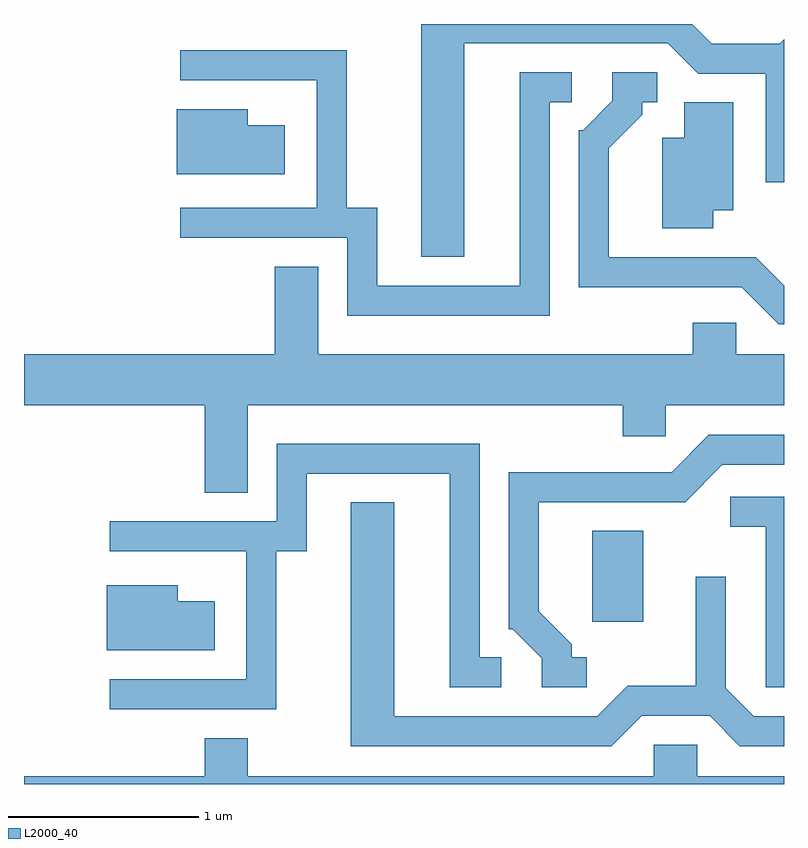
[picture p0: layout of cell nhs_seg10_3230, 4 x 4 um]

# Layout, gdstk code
import gdstk
lib = gdstk.Library(unit=1e-6, precision=1e-09)
def R(c, l, rs):  # rectangles x0, y0, x1, y1
    for r in rs: c.add(gdstk.rectangle(r[:2], r[2:], *l))
def P(c, l, *ps):  # polygons
    for p in ps: c.add(gdstk.Polygon(p, *l))
L2000_40 = (2000, 40)

nhs_seg10_3230 = lib.new_cell('nhs_seg10_3230')
R(nhs_seg10_3230, L2000_40, [(282.601,2179.376,282.869,2179.854)])
P(nhs_seg10_3230, L2000_40, [(281.929,2182.421),(282.999,2182.421),(283.159,2182.261),(283.516,2182.261),(283.516,2181.688),(283.611,2181.688),(283.611,2182.441),(283.589,2182.419),(283.232,2182.419),(283.129,2182.522),(281.701,2182.522),(281.701,2181.296),(281.929,2181.296)],
  [(282.379,2182.111),(282.493,2182.111),(282.493,2182.269),(282.221,2182.269),(282.221,2181.144),(281.469,2181.144),(281.469,2181.554),(281.309,2181.554),(281.309,2182.384),(280.433,2182.384),(280.433,2182.226),(281.151,2182.226),(281.151,2181.554),(280.433,2181.554),(280.433,2181.396),(281.311,2181.396),(281.311,2180.986),(282.379,2180.986)],
  [(283.611,2181.145),(283.462,2181.294),(282.689,2181.294),(282.689,2181.869),(282.864,2182.044),(282.864,2182.111),(282.943,2182.111),(282.943,2182.269),(282.706,2182.269),(282.706,2182.117),(282.554,2181.964),(282.531,2181.964),(282.531,2181.136),(283.389,2181.136),(283.584,2180.941),(283.611,2180.941)],
  [(283.239,2181.541),(283.344,2181.541),(283.344,2182.109),(283.086,2182.109),(283.086,2181.924),(282.971,2181.924),(282.971,2181.446),(283.239,2181.446)],
  [(280.984,2181.989),(280.789,2181.989),(280.789,2182.074),(280.416,2182.074),(280.416,2181.731),(280.984,2181.731)],
  [(280.789,2180.516),(282.761,2180.516),(282.761,2180.351),(282.989,2180.351),(282.989,2180.516),(283.611,2180.516),(283.611,2180.784),(283.359,2180.784),(283.359,2180.949),(283.131,2180.949),(283.131,2180.784),(281.159,2180.784),(281.159,2181.244),(280.931,2181.244),(280.931,2180.784),(279.611,2180.784),(279.611,2180.516),(280.561,2180.516),(280.561,2180.056),(280.789,2180.056)],
  [(282.573,2179.189),(282.494,2179.189),(282.494,2179.257),(282.319,2179.432),(282.319,2180.006),(283.092,2180.006),(283.287,2180.201),(283.611,2180.201),(283.611,2180.359),(283.214,2180.359),(283.019,2180.164),(282.161,2180.164),(282.161,2179.336),(282.184,2179.336),(282.336,2179.184),(282.336,2179.031),(282.573,2179.031)],
  [(280.939,2179.746),(281.099,2179.746),(281.099,2180.156),(281.851,2180.156),(281.851,2179.031),(282.123,2179.031),(282.123,2179.189),(282.009,2179.189),(282.009,2180.314),(280.941,2180.314),(280.941,2179.904),(280.063,2179.904),(280.063,2179.746),(280.781,2179.746),(280.781,2179.074),(280.063,2179.074),(280.063,2178.916),(280.939,2178.916)],
  [(283.611,2180.034),(283.328,2180.034),(283.328,2179.876),(283.516,2179.876),(283.516,2179.031),(283.611,2179.031)],
  [(282.862,2178.881),(283.219,2178.881),(283.379,2178.721),(283.611,2178.721),(283.611,2178.879),(283.452,2178.879),(283.304,2179.027),(283.304,2179.613),(283.146,2179.613),(283.146,2179.039),(282.789,2179.039),(282.629,2178.879),(281.559,2178.879),(281.559,2180.004),(281.331,2180.004),(281.331,2178.721),(282.702,2178.721)],
  [(280.614,2179.484),(280.419,2179.484),(280.419,2179.569),(280.046,2179.569),(280.046,2179.226),(280.614,2179.226)],
  [(283.611,2178.564),(283.154,2178.564),(283.154,2178.729),(282.926,2178.729),(282.926,2178.564),(280.789,2178.564),(280.789,2178.764),(280.561,2178.764),(280.561,2178.564),(279.611,2178.564),(279.611,2178.522),(283.611,2178.522)])

lib.write_gds('nhs_seg10_3230.gds')
